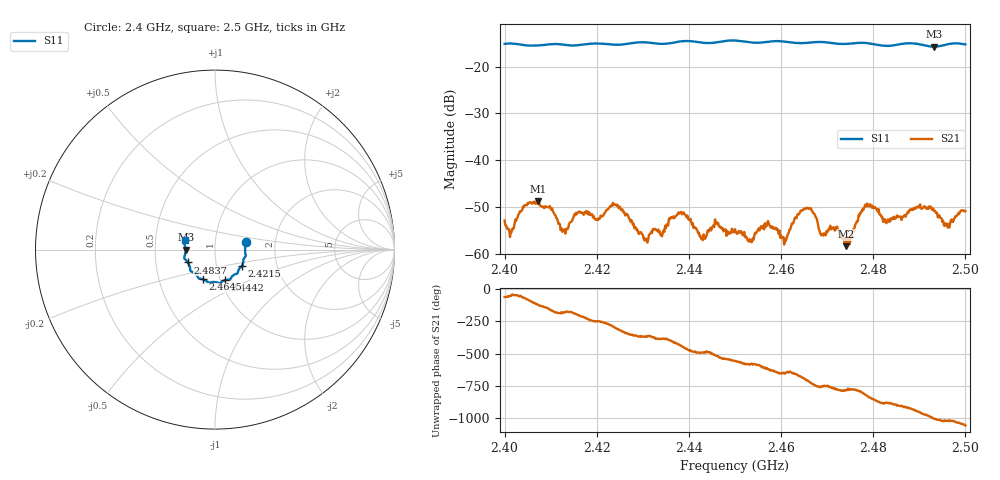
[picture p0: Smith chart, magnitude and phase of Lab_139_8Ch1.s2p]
# Hz S RI R 50
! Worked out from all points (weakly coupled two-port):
!   601 points, 2.4 GHz to 2.5 GHz, reference 50 ohm
!   highest |S21| = -48.81 dB at 2.4073 GHz (marker M1); lowest = -58.4 dB at 2.4742 GHz (marker M2)
!   lowest |S11| = -15.7 dB at 2.4932 GHz (marker M3), VSWR 1.39, Z = 35.9 - j0.0536 ohm
!   |S11| at or under -10 dB: start of sweep to end of sweep
!   S12 and S22 are empty: the file has one direction only
!   S11 on the Smith chart (normalised r, x): 2.4 GHz: 1.41, +0.12; 2.4215 GHz: 1.33, -0.25; 2.4442 GHz: 1.05, -0.37; 2.4645 GHz: 0.83, -0.29; 2.4837 GHz: 0.73, -0.11; 2.5 GHz: 0.71, +0.07
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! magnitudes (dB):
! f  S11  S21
! 2.4 GHz  -15.1  -52.9
! 2.4073 GHz  -15.5  -48.8
! 2.4127 GHz  -15.3  -55.2
! 2.4167 GHz  -15.3  -51.2
! 2.4215 GHz  -15.1  -51.7
! 2.424 GHz  -15.3  -49.5
! 2.4307 GHz  -14.8  -56.8
! 2.4333 GHz  -15.1  -54.8
! 2.4383 GHz  -14.6  -51.1
! 2.4442 GHz  -15.0  -54.9
! 2.45 GHz  -14.4  -54.7
! 2.4607 GHz  -14.6  -58.0
! 2.4645 GHz  -15.0  -50.7
! 2.4667 GHz  -14.8  -50.8
! 2.4688 GHz  -14.7  -55.9
! 2.4742 GHz  -15.1  -58.4
! 2.4787 GHz  -15.0  -49.3
! 2.4833 GHz  -15.6  -52.9
! 2.4837 GHz  -15.5  -52.5
! 2.4932 GHz  -15.7  -50.8
! 2.496 GHz  -15.2  -53.8
! 2.5 GHz  -15.2  -50.9
